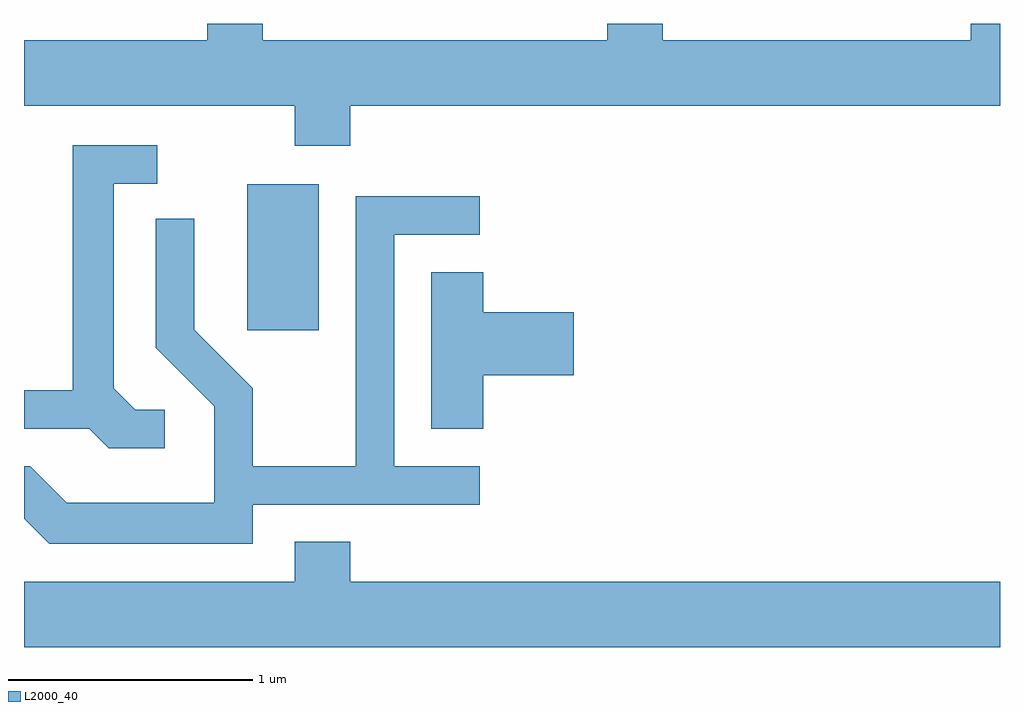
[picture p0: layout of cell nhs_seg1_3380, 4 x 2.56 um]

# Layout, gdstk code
import gdstk
lib = gdstk.Library(unit=1e-6, precision=1e-09)
def R(c, l, rs):  # rectangles x0, y0, x1, y1
    for r in rs: c.add(gdstk.rectangle(r[:2], r[2:], *l))
def P(c, l, *ps):  # polygons
    for p in ps: c.add(gdstk.Polygon(p, *l))
L2000_40 = (2000, 40)

nhs_seg1_3380 = lib.new_cell('nhs_seg1_3380')
R(nhs_seg1_3380, L2000_40, [(288.526,876.456,288.819,877.054)])
P(nhs_seg1_3380, L2000_40, [(291.611,877.712),(291.491,877.712),(291.491,877.644),(290.229,877.644),(290.229,877.712),(290.001,877.712),(290.001,877.644),(288.589,877.644),(288.589,877.712),(288.361,877.712),(288.361,877.644),(287.611,877.644),(287.611,877.376),(288.721,877.376),(288.721,877.211),(288.949,877.211),(288.949,877.376),(291.611,877.376)],
  [(288.188,876.129),(288.067,876.129),(287.979,876.217),(287.979,877.056),(288.158,877.056),(288.158,877.214),(287.811,877.214),(287.811,876.209),(287.611,876.209),(287.611,876.051),(287.879,876.051),(287.959,875.971),(288.188,875.971)],
  [(288.549,875.741),(289.478,875.741),(289.478,875.899),(289.129,875.899),(289.129,876.846),(289.478,876.846),(289.478,877.004),(288.971,877.004),(288.971,875.899),(288.549,875.899),(288.549,876.217),(288.309,876.457),(288.309,876.913),(288.151,876.913),(288.151,876.384),(288.391,876.144),(288.391,875.749),(287.787,875.749),(287.637,875.899),(287.611,875.899),(287.611,875.684),(287.714,875.581),(288.549,875.581)],
  [(289.494,876.271),(289.864,876.271),(289.864,876.529),(289.494,876.529),(289.494,876.694),(289.281,876.694),(289.281,876.051),(289.494,876.051)],
  [(291.611,875.424),(288.949,875.424),(288.949,875.589),(288.721,875.589),(288.721,875.424),(287.611,875.424),(287.611,875.156),(291.611,875.156)])

lib.write_gds('nhs_seg1_3380.gds')
